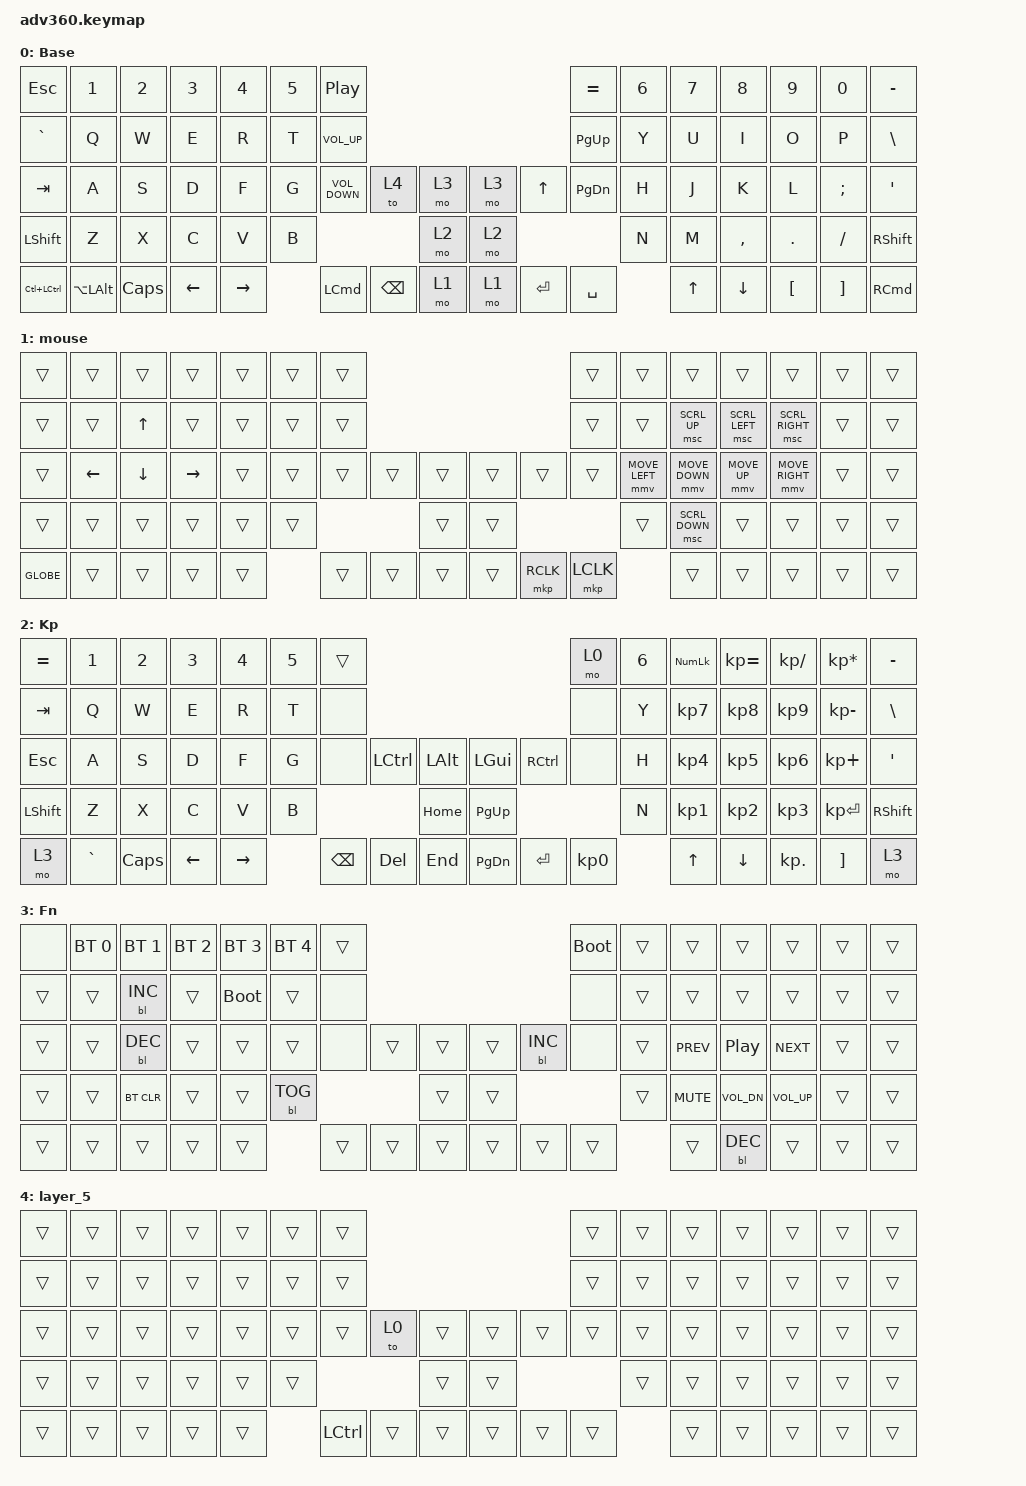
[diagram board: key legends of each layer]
#include <dt-bindings/zmk/stp.h>
#include <behaviors.dtsi>
#include <dt-bindings/zmk/backlight.h>
#include <dt-bindings/zmk/bt.h>
#include <dt-bindings/zmk/keys.h>
#include <dt-bindings/zmk/pointing.h>

/ {
    behaviors {
        #include "macros.dtsi"
      #include "version.dtsi"

        hm: homerow_mods {
            compatible = "zmk,behavior-hold-tap";
            label = "HOMEROW_MODS";
            #binding-cells = <2>;
            tapping-term-ms = <200>;
            quick_tap_ms = <175>;
            flavor = "tap-preferred";
            bindings = <&kp>, <&kp>;
        };
    };

    keymap {
        compatible = "zmk,keymap";

        default_layer {
            display-name = "Base";
            bindings = <
&kp ESCAPE            &kp N1            &kp N2    &kp N3    &kp N4     &kp N5  &kp C_PLAY_PAUSE                                                  &kp EQUAL      &kp N6  &kp N7  &kp N8     &kp N9    &kp N0    &kp MINUS
&kp GRAVE             &kp Q             &kp W     &kp E     &kp R      &kp T   &kp C_VOLUME_UP                                                   &kp PAGE_UP    &kp Y   &kp U   &kp I      &kp O     &kp P     &kp BSLH
&kp TAB               &kp A             &kp S     &kp D     &kp F      &kp G   &kp C_VOLUME_DOWN  &to 4          &mo 3      &mo 3  &kp UP_ARROW  &kp PAGE_DOWN  &kp H   &kp J   &kp K      &kp L     &kp SEMI  &kp SQT
&kp LSHFT             &kp Z             &kp X     &kp C     &kp V      &kp B                                     &mo 2      &mo 2                               &kp N   &kp M   &kp COMMA  &kp DOT   &kp FSLH  &kp RSHFT
&kp LC(LEFT_CONTROL)  &kp LA(LEFT_ALT)  &kp CAPS  &kp LEFT  &kp RIGHT          &kp LEFT_COMMAND   &kp BACKSPACE  &mo 1      &mo 1  &kp ENTER     &kp SPACE              &kp UP  &kp DOWN   &kp LBKT  &kp RBKT  &kp RIGHT_COMMAND
            >;
        };

        mouse {
            bindings = <
&trans     &trans          &trans        &trans     &trans  &trans  &trans                                         &trans     &trans          &trans          &trans          &trans           &trans  &trans
&trans     &trans          &kp UP_ARROW  &trans     &trans  &trans  &trans                                         &trans     &trans          &msc SCRL_UP    &msc SCRL_LEFT  &msc SCRL_RIGHT  &trans  &trans
&trans     &kp LEFT_ARROW  &kp DOWN      &kp RIGHT  &trans  &trans  &trans  &trans  &trans      &trans  &trans     &trans     &mmv MOVE_LEFT  &mmv MOVE_DOWN  &mmv MOVE_UP    &mmv MOVE_RIGHT  &trans  &trans
&trans     &trans          &trans        &trans     &trans  &trans                  &trans      &trans                        &trans          &msc SCRL_DOWN  &trans          &trans           &trans  &trans
&kp GLOBE  &trans          &trans        &trans     &trans          &trans  &trans  &trans      &trans  &mkp RCLK  &mkp LCLK                  &trans          &trans          &trans           &trans  &trans
            >;
        };

        keypad {
            display-name = "Kp";
            bindings = <
&kp EQUAL  &kp N1     &kp N2    &kp N3    &kp N4     &kp N5  &trans                                                   &mo 0      &kp N6  &kp KP_NUM  &kp KP_EQUAL  &kp KP_DIVIDE  &kp KP_MULTIPLY  &kp MINUS
&kp TAB    &kp Q      &kp W     &kp E     &kp R      &kp T   &none                                                    &none      &kp Y   &kp KP_N7   &kp KP_N8     &kp KP_N9      &kp KP_MINUS     &kp BSLH
&kp ESC    &kp A      &kp S     &kp D     &kp F      &kp G   &none     &kp LCTRL  &kp LALT      &kp LGUI   &kp RCTRL  &none      &kp H   &kp KP_N4   &kp KP_N5     &kp KP_N6      &kp KP_PLUS      &kp SQT
&kp LSHFT  &kp Z      &kp X     &kp C     &kp V      &kp B                        &kp HOME      &kp PG_UP                        &kp N   &kp KP_N1   &kp KP_N2     &kp KP_N3      &kp KP_ENTER     &kp RSHFT
&mo 3      &kp GRAVE  &kp CAPS  &kp LEFT  &kp RIGHT          &kp BSPC  &kp DEL    &kp END       &kp PG_DN  &kp ENTER  &kp KP_N0          &kp UP      &kp DOWN      &kp KP_DOT     &kp RBKT         &mo 3
            >;
        };

        media {
            display-name = "Fn";
            bindings = <
&none   &bt BT_SEL 0  &bt BT_SEL 1  &bt BT_SEL 2  &bt BT_SEL 3  &bt BT_SEL 4  &trans                                          &bootloader  &trans  &trans      &trans            &trans        &trans  &trans
&trans  &trans        &bl BL_INC    &trans        &bootloader   &trans        &none                                           &none        &trans  &trans      &trans            &trans        &trans  &trans
&trans  &trans        &bl BL_DEC    &trans        &trans        &trans        &none   &trans  &trans      &trans  &bl BL_INC  &none        &trans  &kp C_PREV  &kp C_PLAY_PAUSE  &kp C_NEXT    &trans  &trans
&trans  &trans        &bt BT_CLR    &trans        &trans        &bl BL_TOG                    &trans      &trans                           &trans  &kp C_MUTE  &kp C_VOL_DN      &kp C_VOL_UP  &trans  &trans
&trans  &trans        &trans        &trans        &trans                      &trans  &trans  &trans      &trans  &trans      &trans               &trans      &bl BL_DEC        &trans        &trans  &trans
            >;
        };

        layer_5 {
            bindings = <
&trans  &trans  &trans  &trans  &trans  &trans  &trans                                         &trans  &trans  &trans  &trans  &trans  &trans  &trans
&trans  &trans  &trans  &trans  &trans  &trans  &trans                                         &trans  &trans  &trans  &trans  &trans  &trans  &trans
&trans  &trans  &trans  &trans  &trans  &trans  &trans     &to 0   &trans      &trans  &trans  &trans  &trans  &trans  &trans  &trans  &trans  &trans
&trans  &trans  &trans  &trans  &trans  &trans                     &trans      &trans                  &trans  &trans  &trans  &trans  &trans  &trans
&trans  &trans  &trans  &trans  &trans          &kp LCTRL  &trans  &trans      &trans  &trans  &trans          &trans  &trans  &trans  &trans  &trans
            >;
        };
    };
};
